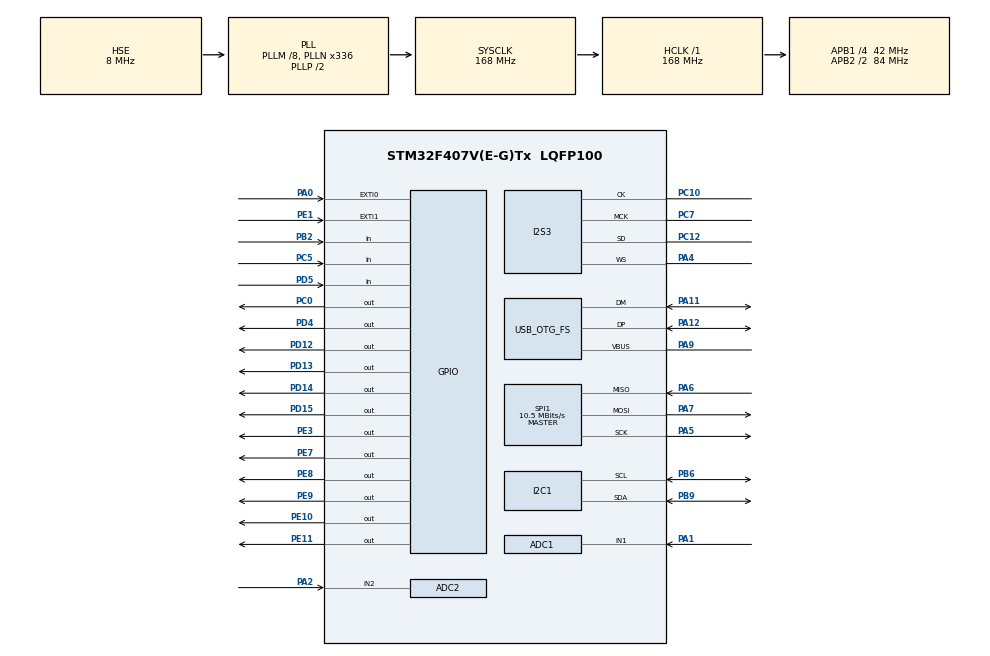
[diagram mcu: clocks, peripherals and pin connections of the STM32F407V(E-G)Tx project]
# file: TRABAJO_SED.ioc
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ADC1.Channel-0\#ChannelRegularConversion=ADC_CHANNEL_1
ADC1.ContinuousConvMode=ENABLE
ADC1.DMAContinuousRequests=DISABLE
ADC1.EOCSelection=ADC_EOC_SINGLE_CONV
ADC1.NbrOfConversion=1
ADC1.NbrOfConversionFlag=1
ADC1.Resolution=ADC_RESOLUTION_8B
ADC1.SamplingTime-0\#ChannelRegularConversion=ADC_SAMPLETIME_480CYCLES
ADC1.ScanConvMode=DISABLE
ADC1.master=1
ADC2.Channel-0\#ChannelRegularConversion=ADC_CHANNEL_2
ADC2.ContinuousConvMode=ENABLE
ADC2.NbrOfConversionFlag=1
ADC2.Rank-0\#ChannelRegularConversion=1
ADC2.Resolution=ADC_RESOLUTION_8B
ADC2.SamplingTime-0\#ChannelRegularConversion=ADC_SAMPLETIME_480CYCLES
ADC2.ScanConvMode=DISABLE
I2S3.AudioFreq-Half_Duplex_Master=I2S_AUDIOFREQ_96K
I2S3.ErrorAudioFreq=-2.34 %
I2S3.ErrorAudioFreq-Half_Duplex_Master=0.8 %
I2S3.FullDuplexMode=I2S_FULLDUPLEXMODE_DISABLE
I2S3.Instance=SPI$Index
I2S3.RealAudioFreq=93.75 KHz
I2S3.RealAudioFreq-Half_Duplex_Master=96.774 KHz
I2S3.VirtualMode=I2S_MODE_MASTER
Mcu.Family=STM32F4
Mcu.Name=STM32F407V(E-G)Tx
Mcu.Package=LQFP100
NVIC.ADC_IRQn=true\:0\:0\:false\:false\:true\:true\:true
NVIC.EXTI0_IRQn=true\:0\:0\:false\:false\:true\:true\:true
NVIC.OTG_FS_IRQn=true\:0\:0\:false\:false\:true\:true\:true
NVIC.PriorityGroup=NVIC_PRIORITYGROUP_0
NVIC.TIM4_IRQn=true\:0\:0\:false\:false\:true\:true\:true
PA0-WKUP.GPIO_ModeDefaultEXTI=GPIO_MODE_IT_RISING
PA0-WKUP.GPIO_PuPd=GPIO_NOPULL
PA0-WKUP.Signal=GPXTI0
PA1.Signal=ADCx_IN1
PA10.GPIO_Mode=GPIO_MODE_AF_PP
PA10.GPIO_PuPd=GPIO_NOPULL
PA10.GPIO_Speed=GPIO_SPEED_FREQ_VERY_HIGH
PA10.Signal=USB_OTG_FS_ID
PA11.GPIO_Mode=GPIO_MODE_AF_PP
PA11.GPIO_PuPd=GPIO_NOPULL
PA11.GPIO_Speed=GPIO_SPEED_FREQ_VERY_HIGH
PA11.Mode=Host_Only
PA11.Signal=USB_OTG_FS_DM
PA12.GPIO_Mode=GPIO_MODE_AF_PP
PA12.GPIO_PuPd=GPIO_NOPULL
PA12.GPIO_Speed=GPIO_SPEED_FREQ_VERY_HIGH
PA12.Mode=Host_Only
PA12.Signal=USB_OTG_FS_DP
PA13.Mode=Serial_Wire
PA13.Signal=SYS_JTMS-SWDIO
PA14.Mode=Serial_Wire
PA14.Signal=SYS_JTCK-SWCLK
PA2.Signal=ADCx_IN2
PA4.GPIO_Mode=GPIO_MODE_AF_PP
PA4.GPIO_PuPd=GPIO_NOPULL
PA4.GPIO_Speed=GPIO_SPEED_FREQ_LOW
PA4.Mode=Half_Duplex_Master
PA4.Signal=I2S3_WS
PA5.GPIO_Mode=GPIO_MODE_AF_PP
PA5.GPIO_PuPd=GPIO_NOPULL
PA5.GPIO_Speed=GPIO_SPEED_FREQ_VERY_HIGH
PA5.Mode=Full_Duplex_Master
PA5.Signal=SPI1_SCK
PA6.GPIO_Mode=GPIO_MODE_AF_PP
PA6.GPIO_PuPd=GPIO_NOPULL
PA6.GPIO_Speed=GPIO_SPEED_FREQ_VERY_HIGH
PA6.Mode=Full_Duplex_Master
PA6.Signal=SPI1_MISO
PA7.GPIO_Mode=GPIO_MODE_AF_PP
PA7.GPIO_PuPd=GPIO_NOPULL
PA7.GPIO_Speed=GPIO_SPEED_FREQ_VERY_HIGH
PA7.Mode=Full_Duplex_Master
PA7.Signal=SPI1_MOSI
PA9.GPIO_Mode=GPIO_MODE_INPUT
PA9.GPIO_PuPd=GPIO_NOPULL
PA9.Mode=Activate_VBUS
PA9.Signal=USB_OTG_FS_VBUS
PB10.GPIO_Mode=GPIO_MODE_AF_PP
PB10.GPIO_PuPd=GPIO_NOPULL
PB10.GPIO_Speed=GPIO_SPEED_FREQ_LOW
PB10.Signal=I2S2_CK
PB2.GPIO_Mode=GPIO_MODE_INPUT
PB2.GPIO_PuPd=GPIO_NOPULL
PB2.Signal=GPIO_Input
PB3.Signal=SYS_JTDO-SWO
PB6.GPIO_Mode=GPIO_MODE_AF_OD
PB6.GPIO_PuPd=GPIO_NOPULL
PB6.GPIO_PuPdOD=GPIO_PULLUP
PB6.GPIO_Speed=GPIO_SPEED_FREQ_VERY_HIGH
PB6.Mode=I2C
PB6.Signal=I2C1_SCL
PB9.GPIO_Mode=GPIO_MODE_AF_OD
PB9.GPIO_PuPd=GPIO_NOPULL
PB9.GPIO_PuPdOD=GPIO_PULLUP
PB9.GPIO_Speed=GPIO_SPEED_FREQ_VERY_HIGH
PB9.Mode=I2C
PB9.Signal=I2C1_SDA
PC0.GPIO_ModeDefaultOutputPP=GPIO_MODE_OUTPUT_PP
PC0.GPIO_PuPd=GPIO_NOPULL
PC0.GPIO_Speed=GPIO_SPEED_FREQ_LOW
PC0.PinState=GPIO_PIN_RESET
PC0.Signal=GPIO_Output
PC10.GPIO_Mode=GPIO_MODE_AF_PP
PC10.GPIO_PuPd=GPIO_NOPULL
PC10.GPIO_Speed=GPIO_SPEED_FREQ_LOW
PC10.Mode=Half_Duplex_Master
PC10.Signal=I2S3_CK
PC12.GPIO_Mode=GPIO_MODE_AF_PP
PC12.GPIO_PuPd=GPIO_NOPULL
PC12.GPIO_Speed=GPIO_SPEED_FREQ_LOW
PC12.Mode=Half_Duplex_Master
PC12.Signal=I2S3_SD
PC14-OSC32_IN.Mode=LSE-External-Oscillator
PC14-OSC32_IN.Signal=RCC_OSC32_IN
PC15-OSC32_OUT.Mode=LSE-External-Oscillator
PC15-OSC32_OUT.Signal=RCC_OSC32_OUT
PC3.GPIO_Mode=GPIO_MODE_AF_PP
PC3.GPIO_PuPd=GPIO_NOPULL
PC3.GPIO_Speed=GPIO_SPEED_FREQ_LOW
PC3.Signal=I2S2_SD
PC5.Signal=GPIO_Input
PC7.GPIO_Mode=GPIO_MODE_AF_PP
PC7.GPIO_PuPd=GPIO_NOPULL
PC7.GPIO_Speed=GPIO_SPEED_FREQ_LOW
PC7.Mode=Master_Clock_Activated
PC7.Signal=I2S3_MCK
PD12.GPIO_ModeDefaultOutputPP=GPIO_MODE_OUTPUT_PP
PD12.GPIO_PuPd=GPIO_NOPULL
PD12.GPIO_Speed=GPIO_SPEED_FREQ_LOW
PD12.PinState=GPIO_PIN_RESET
PD12.Signal=GPIO_Output
PD13.GPIO_ModeDefaultOutputPP=GPIO_MODE_OUTPUT_PP
PD13.GPIO_PuPd=GPIO_NOPULL
PD13.GPIO_Speed=GPIO_SPEED_FREQ_LOW
PD13.PinState=GPIO_PIN_RESET
PD13.Signal=GPIO_Output
PD14.GPIO_ModeDefaultOutputPP=GPIO_MODE_OUTPUT_PP
PD14.GPIO_PuPd=GPIO_NOPULL
PD14.GPIO_Speed=GPIO_SPEED_FREQ_LOW
PD14.PinState=GPIO_PIN_RESET
PD14.Signal=GPIO_Output
PD15.GPIO_ModeDefaultOutputPP=GPIO_MODE_OUTPUT_PP
PD15.GPIO_PuPd=GPIO_NOPULL
PD15.GPIO_Speed=GPIO_SPEED_FREQ_LOW
PD15.PinState=GPIO_PIN_RESET
PD15.Signal=GPIO_Output
PD4.GPIO_ModeDefaultOutputPP=GPIO_MODE_OUTPUT_PP
PD4.GPIO_PuPd=GPIO_NOPULL
PD4.GPIO_Speed=GPIO_SPEED_FREQ_LOW
PD4.PinState=GPIO_PIN_RESET
PD4.Signal=GPIO_Output
PD5.GPIO_Mode=GPIO_MODE_INPUT
PD5.GPIO_PuPd=GPIO_NOPULL
PD5.Signal=GPIO_Input
PE1.GPIO_ModeDefaultEXTI=GPIO_MODE_IT_RISING
PE1.GPIO_PuPd=GPIO_NOPULL
PE1.Signal=GPXTI1
PE10.GPIO_ModeDefaultOutputPP=GPIO_MODE_OUTPUT_PP
PE10.GPIO_PuPd=GPIO_NOPULL
PE10.GPIO_Speed=GPIO_SPEED_FREQ_LOW
PE10.PinState=GPIO_PIN_RESET
PE10.Signal=GPIO_Output
PE11.GPIO_ModeDefaultOutputPP=GPIO_MODE_OUTPUT_PP
PE11.GPIO_PuPd=GPIO_NOPULL
PE11.GPIO_Speed=GPIO_SPEED_FREQ_LOW
PE11.PinState=GPIO_PIN_RESET
PE11.Signal=GPIO_Output
PE3.GPIO_ModeDefaultOutputPP=GPIO_MODE_OUTPUT_PP
PE3.GPIO_PuPd=GPIO_NOPULL
PE3.GPIO_Speed=GPIO_SPEED_FREQ_LOW
PE3.PinState=GPIO_PIN_RESET
PE3.Signal=GPIO_Output
PE7.GPIO_ModeDefaultOutputPP=GPIO_MODE_OUTPUT_PP
PE7.GPIO_PuPd=GPIO_NOPULL
PE7.GPIO_Speed=GPIO_SPEED_FREQ_LOW
PE7.PinState=GPIO_PIN_RESET
PE7.Signal=GPIO_Output
PE8.GPIO_ModeDefaultOutputPP=GPIO_MODE_OUTPUT_PP
PE8.GPIO_PuPd=GPIO_NOPULL
PE8.GPIO_Speed=GPIO_SPEED_FREQ_LOW
PE8.PinState=GPIO_PIN_RESET
PE8.Signal=GPIO_Output
PE9.GPIO_ModeDefaultOutputPP=GPIO_MODE_OUTPUT_PP
PE9.GPIO_PuPd=GPIO_NOPULL
PE9.GPIO_Speed=GPIO_SPEED_FREQ_LOW
PE9.PinState=GPIO_PIN_RESET
PE9.Signal=GPIO_Output
PH0-OSC_IN.Mode=HSE-External-Oscillator
PH0-OSC_IN.Signal=RCC_OSC_IN
PH1-OSC_OUT.Mode=HSE-External-Oscillator
PH1-OSC_OUT.Signal=RCC_OSC_OUT
ProjectManager.HeapSize=0x200
ProjectManager.StackSize=0x400
ProjectManager.TargetToolchain=MDK-ARM V5.27
RCC.48MHZClocksFreq_Value=48000000
RCC.AHBFreq_Value=168000000
RCC.APB1CLKDivider=RCC_HCLK_DIV4
RCC.APB1Freq_Value=42000000
RCC.APB1TimFreq_Value=84000000
RCC.APB2CLKDivider=RCC_HCLK_DIV2
RCC.APB2Freq_Value=84000000
RCC.APB2TimFreq_Value=168000000
RCC.CortexFreq_Value=168000000
RCC.HCLKFreq_Value=168000000
RCC.HSE_VALUE=8000000
RCC.HSI_VALUE=16000000
RCC.PLLM=8
RCC.PLLN=336
RCC.PLLQ=7
RCC.SYSCLKFreq_VALUE=168000000
RCC.SYSCLKSource=RCC_SYSCLKSOURCE_PLLCLK
RCC.VCOOutputFreq_Value=336000000
SH.ADCx_IN1.0=ADC1_IN1,IN1
SH.ADCx_IN2.0=ADC2_IN2,IN2
SPI1.BaudRatePrescaler=SPI_BAUDRATEPRESCALER_8
SPI1.BaudRatePrescaler-Full_Duplex_Master=SPI_BAUDRATEPRESCALER_2
SPI1.CalculateBaudRate=10.5 MBits/s
SPI1.CalculateBaudRate-Full_Duplex_Master=42.0 MBits/s
SPI1.DataSize=SPI_DATASIZE_8BIT
SPI1.Direction=SPI_DIRECTION_2LINES
SPI1.Mode=SPI_MODE_MASTER
SPI1.Mode-Full_Duplex_Master=SPI_MODE_MASTER
SPI1.VirtualType=VM_MASTER
TIM4.Period=1000
TIM4.Prescaler=16000
USB_HOST.BSP.number=1
USB_HOST.USBH_HandleTypeDef-CDC_FS=hUsbHostFS
USB_HOST.VirtualModeFS=Cdc
USB_HOST0.BSP.STBoard=false
USB_HOST0.BSP.api=Unknown
USB_HOST0.BSP.i2caddr=0
USB_HOST0.BSP.i2creg=0
USB_HOST0.BSP.instance=PC0
USB_HOST0.BSP.ip=GPIO
USB_HOST0.BSP.mode=Output
USB_HOST0.BSP.name=Drive_VBUS_FS
USB_HOST0.BSP.solution=PC0
USB_OTG_FS.VirtualMode=Host_Only
USB_OTG_FS.phy_itface=HCD_PHY_EMBEDDED
VP_TIM4_VS_ClockSourceINT.Mode=Internal
VP_USB_HOST_VS_USB_HOST_CDC_FS.Mode=CDC_FS
board=STM32F407G-DISC1

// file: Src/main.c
/* USER CODE BEGIN Header */
/**
  ******************************************************************************
  * @file           : main.c
  * @brief          : Main program body
  ******************************************************************************
  * @attention
  *
  * <h2><center>&copy; Copyright (c) 2019 STMicroelectronics.
  * All rights reserved.</center></h2>
  *
  * This software component is licensed by ST under Ultimate Liberty license
  * SLA0044, the "License"; You may not use this file except in compliance with
  * the License. You may obtain a copy of the License at:
  *                             www.st.com/SLA0044
  *
  ******************************************************************************
  */
/* USER CODE END Header */

#include "main.h"
#include "usb_host.h"
//lol
/* USER CODE BEGIN Includes */
#include "nokia5110_LCD.h"
#include <stdio.h>
#include <stdlib.h>
/* USER CODE END Includes */

/* USER CODE BEGIN PTD */
//Estados de la máquina de Moore
	 typedef enum{inicio, pausa, juego, muerto} Game;

//Estructura de las diferentes posiciones en el tablero
	 typedef struct{
	   uint8_t fila;
		 uint8_t columna;
	 }Posicion;

//Estructura de la serpiente incluyendo, el tamaño, la dirección de la serpiente y el vector de posiciones
	 typedef struct {
	  uint8_t size;
	  uint8_t dir; //0 arriba, 1 derecha, 2 abajo, 3 izquierda
	  Posicion Pos[150]; //No se puede poner más
	 }Snake;

/* USER CODE END PTD */

/* USER CODE BEGIN PD */
#define MAX_X 81  //quitando el marco del juego
#define MAX_Y 45 //quitando el score
#define MIN_X 2
#define MIN_Y 10
#define MAX_COLUMNA 40 //Columnas de la matriz de tablero
#define MAX_FILA 18  //Filas de la matriz de tablero
#define MAX_SNAKE 150 //Longitud máxima de la serpiente (ocupando todo el tablero)
/* USER CODE END PD */

ADC_HandleTypeDef hadc1;
ADC_HandleTypeDef hadc2;

I2C_HandleTypeDef hi2c1;

I2S_HandleTypeDef hi2s3;

SPI_HandleTypeDef hspi1;

TIM_HandleTypeDef htim4;

/* USER CODE BEGIN PV */

	bool ISR = false; //Inicialización de la interrupción del botón
  bool ISADC = false;   //Inicialización de la interrupción de los ADC
	bool ISTIMER = false;  //Inicialización de la interrupción del timer
  uint8_t ADC_X = 0;  //Inicialización de variable del eje x del joystick
  uint8_t ADC_Y = 0;  //Inicialización de la variable del eje y del joystick

/* USER CODE END PV */

void SystemClock_Config(void);
static void MX_GPIO_Init(void);
static void MX_I2C1_Init(void);
static void MX_I2S3_Init(void);
static void MX_SPI1_Init(void);
static void MX_ADC1_Init(void);
static void MX_ADC2_Init(void);
static void MX_TIM4_Init(void);
void MX_USB_HOST_Process(void);

/* USER CODE BEGIN PFP */
void drawFood(uint8_t pixelX, uint8_t pixelY); //Dibujo de la comida
void drawTablero(uint8_t Tab[MAX_FILA][MAX_COLUMNA], uint8_t score); //Dibujo del tablero
void SnakePos(uint8_t Tab[MAX_FILA][MAX_COLUMNA], Snake* snake, Game *estado); //Cálculo de la posición de la serpiente
void Dibujo(Game *estado, uint8_t Tab[MAX_FILA][MAX_COLUMNA], Snake* snake); //Dibujo de la pantalla
void JuegoInit(Snake *Serpiente, uint8_t Tab[MAX_FILA][MAX_COLUMNA]);  //Inicialización del tablero con valores predeterminados
void Estado(Game *estado, Snake *Serpiente, uint8_t Tab[MAX_FILA][MAX_COLUMNA]);  //Transición de estados
uint8_t cambioDir(uint8_t direccion);  //Cálculo del cambio de dirección de la serpiente según el joystick
void ajustePos(uint8_t Tab[MAX_FILA][MAX_COLUMNA], Snake* snake, Game *estado);  //Comprobación del estado siguiente de la serpiente
/* USER CODE END PFP */

int main(void)
{
  /* USER CODE BEGIN 1 */
  Snake Serpiente; //Inicialización de la serpiente
	uint8_t Tablero[MAX_FILA][MAX_COLUMNA]; //0 si vacio, 1 si serpiente, 2 si comida

  /* USER CODE END 1 */

  /* MCU Configuration--------------------------------------------------------*/

  /* Reset of all peripherals, Initializes the Flash interface and the Systick. */
  HAL_Init();

  /* USER CODE BEGIN Init */
   Game estado = inicio;

  /* USER CODE END Init */

  /* Configure the system clock */
  SystemClock_Config();

  /* USER CODE BEGIN SysInit */
  LCD_setRST(GPIOE, GPIO_PIN_7);
  LCD_setCE(GPIOE, GPIO_PIN_8);
  LCD_setDC(GPIOE, GPIO_PIN_9);
  LCD_setDIN(GPIOE, GPIO_PIN_10);
  LCD_setCLK(GPIOE, GPIO_PIN_11);
  /* USER CODE END SysInit */

  /* Initialize all configured peripherals */
  MX_GPIO_Init();
  MX_I2C1_Init();
  MX_I2S3_Init();
  MX_SPI1_Init();
  MX_USB_HOST_Init();
  MX_ADC1_Init();
  MX_ADC2_Init();
  MX_TIM4_Init();
  /* USER CODE BEGIN 2 */
  LCD_init();
	HAL_ADC_Start_IT(&hadc1);
	HAL_ADC_Start_IT(&hadc2);
  HAL_TIM_Base_Start_IT(&htim4);

	 //inicialización del vector de posiciones
	 JuegoInit(&Serpiente, Tablero);

  /* USER CODE END 2 */

  /* Infinite loop */
  /* USER CODE BEGIN WHILE */
  while (1)
  {
		//Pantalla 84*48 pixeles
		//Cabeza 4 pixeles, cada fruta aumenta en dos el tamaño de la serpiente (4 pixeles +)

    /* USER CODE END WHILE */
    MX_USB_HOST_Process();

    /* USER CODE BEGIN 3 */
		//LLamada a Dibujo(Para enviar a la pantalla los datos ) cuando se activa la interrupción del contador
		if (ISTIMER){

	  Dibujo(&estado, Tablero, &Serpiente);	 Dibujo(&estado, Tablero, &Serpiente);	//Llamada a la función de dibujo
	  ISTIMER = false;  //Reset de la variable de interrupción
 }
		//Llamada a funciones Estado (para gestión del estado)
    Estado(&estado, &Serpiente, Tablero);
  }
  /* USER CODE END 3 */
}

void SystemClock_Config(void)
{
  RCC_OscInitTypeDef RCC_OscInitStruct = {0};
  RCC_ClkInitTypeDef RCC_ClkInitStruct = {0};
  RCC_PeriphCLKInitTypeDef PeriphClkInitStruct = {0};

  /** Configure the main internal regulator output voltage
  */
  __HAL_RCC_PWR_CLK_ENABLE();
  __HAL_PWR_VOLTAGESCALING_CONFIG(PWR_REGULATOR_VOLTAGE_SCALE1);
  /** Initializes the CPU, AHB and APB busses clocks
  */
  RCC_OscInitStruct.OscillatorType = RCC_OSCILLATORTYPE_HSE;
  RCC_OscInitStruct.HSEState = RCC_HSE_ON;
  RCC_OscInitStruct.PLL.PLLState = RCC_PLL_ON;
  RCC_OscInitStruct.PLL.PLLSource = RCC_PLLSOURCE_HSE;
  RCC_OscInitStruct.PLL.PLLM = 8;
  RCC_OscInitStruct.PLL.PLLN = 336;
  RCC_OscInitStruct.PLL.PLLP = RCC_PLLP_DIV2;
  RCC_OscInitStruct.PLL.PLLQ = 7;
  if (HAL_RCC_OscConfig(&RCC_OscInitStruct) != HAL_OK)
  {
    Error_Handler();
  }
  /** Initializes the CPU, AHB and APB busses clocks
  */
  RCC_ClkInitStruct.ClockType = RCC_CLOCKTYPE_HCLK|RCC_CLOCKTYPE_SYSCLK
                              |RCC_CLOCKTYPE_PCLK1|RCC_CLOCKTYPE_PCLK2;
  RCC_ClkInitStruct.SYSCLKSource = RCC_SYSCLKSOURCE_PLLCLK;
  RCC_ClkInitStruct.AHBCLKDivider = RCC_SYSCLK_DIV1;
  RCC_ClkInitStruct.APB1CLKDivider = RCC_HCLK_DIV4;
  RCC_ClkInitStruct.APB2CLKDivider = RCC_HCLK_DIV2;

  if (HAL_RCC_ClockConfig(&RCC_ClkInitStruct, FLASH_LATENCY_5) != HAL_OK)
  {
    Error_Handler();
  }
  PeriphClkInitStruct.PeriphClockSelection = RCC_PERIPHCLK_I2S;
  PeriphClkInitStruct.PLLI2S.PLLI2SN = 192;
  PeriphClkInitStruct.PLLI2S.PLLI2SR = 2;
  if (HAL_RCCEx_PeriphCLKConfig(&PeriphClkInitStruct) != HAL_OK)
  {
    Error_Handler();
  }
}

static void MX_ADC1_Init(void)
{

  ADC_ChannelConfTypeDef sConfig = {0};

  /** Configure the global features of the ADC (Clock, Resolution, Data Alignment and number of conversion)
  */
  hadc1.Instance = ADC1;
  hadc1.Init.ClockPrescaler = ADC_CLOCK_SYNC_PCLK_DIV4;
  hadc1.Init.Resolution = ADC_RESOLUTION_8B;
  hadc1.Init.ScanConvMode = DISABLE;
  hadc1.Init.ContinuousConvMode = ENABLE;
  hadc1.Init.DiscontinuousConvMode = DISABLE;
  hadc1.Init.ExternalTrigConvEdge = ADC_EXTERNALTRIGCONVEDGE_NONE;
  hadc1.Init.ExternalTrigConv = ADC_SOFTWARE_START;
  hadc1.Init.DataAlign = ADC_DATAALIGN_RIGHT;
  hadc1.Init.NbrOfConversion = 1;
  hadc1.Init.DMAContinuousRequests = DISABLE;
  hadc1.Init.EOCSelection = ADC_EOC_SINGLE_CONV;
  if (HAL_ADC_Init(&hadc1) != HAL_OK)
  {
    Error_Handler();
  }
  /** Configure for the selected ADC regular channel its corresponding rank in the sequencer and its sample time.
  */
  sConfig.Channel = ADC_CHANNEL_1;
  sConfig.Rank = 1;
  sConfig.SamplingTime = ADC_SAMPLETIME_480CYCLES;
  if (HAL_ADC_ConfigChannel(&hadc1, &sConfig) != HAL_OK)
  {
    Error_Handler();
  }

}

static void MX_ADC2_Init(void)
{

  ADC_ChannelConfTypeDef sConfig = {0};

  /** Configure the global features of the ADC (Clock, Resolution, Data Alignment and number of conversion)
  */
  hadc2.Instance = ADC2;
  hadc2.Init.ClockPrescaler = ADC_CLOCK_SYNC_PCLK_DIV4;
  hadc2.Init.Resolution = ADC_RESOLUTION_8B;
  hadc2.Init.ScanConvMode = DISABLE;
  hadc2.Init.ContinuousConvMode = ENABLE;
  hadc2.Init.DiscontinuousConvMode = DISABLE;
  hadc2.Init.ExternalTrigConvEdge = ADC_EXTERNALTRIGCONVEDGE_NONE;
  hadc2.Init.ExternalTrigConv = ADC_SOFTWARE_START;
  hadc2.Init.DataAlign = ADC_DATAALIGN_RIGHT;
  hadc2.Init.NbrOfConversion = 1;
  hadc2.Init.DMAContinuousRequests = DISABLE;
  hadc2.Init.EOCSelection = ADC_EOC_SINGLE_CONV;
  if (HAL_ADC_Init(&hadc2) != HAL_OK)
  {
    Error_Handler();
  }
  /** Configure for the selected ADC regular channel its corresponding rank in the sequencer and its sample time.
  */
  sConfig.Channel = ADC_CHANNEL_2;
  sConfig.Rank = 1;
  sConfig.SamplingTime = ADC_SAMPLETIME_480CYCLES;
  if (HAL_ADC_ConfigChannel(&hadc2, &sConfig) != HAL_OK)
  {
    Error_Handler();
  }

}

static void MX_I2C1_Init(void)
{

  hi2c1.Instance = I2C1;
  hi2c1.Init.ClockSpeed = 100000;
  hi2c1.Init.DutyCycle = I2C_DUTYCYCLE_2;
  hi2c1.Init.OwnAddress1 = 0;
  hi2c1.Init.AddressingMode = I2C_ADDRESSINGMODE_7BIT;
  hi2c1.Init.DualAddressMode = I2C_DUALADDRESS_DISABLE;
  hi2c1.Init.OwnAddress2 = 0;
  hi2c1.Init.GeneralCallMode = I2C_GENERALCALL_DISABLE;
  hi2c1.Init.NoStretchMode = I2C_NOSTRETCH_DISABLE;
  if (HAL_I2C_Init(&hi2c1) != HAL_OK)
  {
    Error_Handler();
  }

}

static void MX_I2S3_Init(void)
{

  hi2s3.Instance = SPI3;
  hi2s3.Init.Mode = I2S_MODE_MASTER_TX;
  hi2s3.Init.Standard = I2S_STANDARD_PHILIPS;
  hi2s3.Init.DataFormat = I2S_DATAFORMAT_16B;
  hi2s3.Init.MCLKOutput = I2S_MCLKOUTPUT_ENABLE;
  hi2s3.Init.AudioFreq = I2S_AUDIOFREQ_96K;
  hi2s3.Init.CPOL = I2S_CPOL_LOW;
  hi2s3.Init.ClockSource = I2S_CLOCK_PLL;
  hi2s3.Init.FullDuplexMode = I2S_FULLDUPLEXMODE_DISABLE;
  if (HAL_I2S_Init(&hi2s3) != HAL_OK)
  {
    Error_Handler();
  }

}

static void MX_SPI1_Init(void)
{

  /* SPI1 parameter configuration*/
  hspi1.Instance = SPI1;
  hspi1.Init.Mode = SPI_MODE_MASTER;
  hspi1.Init.Direction = SPI_DIRECTION_2LINES;
  hspi1.Init.DataSize = SPI_DATASIZE_8BIT;
  hspi1.Init.CLKPolarity = SPI_POLARITY_LOW;
  hspi1.Init.CLKPhase = SPI_PHASE_1EDGE;
  hspi1.Init.NSS = SPI_NSS_SOFT;
  hspi1.Init.BaudRatePrescaler = SPI_BAUDRATEPRESCALER_8;
  hspi1.Init.FirstBit = SPI_FIRSTBIT_MSB;
  hspi1.Init.TIMode = SPI_TIMODE_DISABLE;
  hspi1.Init.CRCCalculation = SPI_CRCCALCULATION_DISABLE;
  hspi1.Init.CRCPolynomial = 10;
  if (HAL_SPI_Init(&hspi1) != HAL_OK)
  {
    Error_Handler();
  }

}

static void MX_TIM4_Init(void)
{

  TIM_ClockConfigTypeDef sClockSourceConfig = {0};
  TIM_MasterConfigTypeDef sMasterConfig = {0};

  htim4.Instance = TIM4;
  htim4.Init.Prescaler = 160000;
  htim4.Init.CounterMode = TIM_COUNTERMODE_UP;
  htim4.Init.Period = 200;
  htim4.Init.ClockDivision = TIM_CLOCKDIVISION_DIV1;
  htim4.Init.AutoReloadPreload = TIM_AUTORELOAD_PRELOAD_DISABLE;
  if (HAL_TIM_Base_Init(&htim4) != HAL_OK)
  {
    Error_Handler();
  }
  sClockSourceConfig.ClockSource = TIM_CLOCKSOURCE_INTERNAL;
  if (HAL_TIM_ConfigClockSource(&htim4, &sClockSourceConfig) != HAL_OK)
  {
    Error_Handler();
  }
  sMasterConfig.MasterOutputTrigger = TIM_TRGO_RESET;
  sMasterConfig.MasterSlaveMode = TIM_MASTERSLAVEMODE_DISABLE;
  if (HAL_TIMEx_MasterConfigSynchronization(&htim4, &sMasterConfig) != HAL_OK)
  {
    Error_Handler();
  }

}

static void MX_GPIO_Init(void)
{
  GPIO_InitTypeDef GPIO_InitStruct = {0};

  /* GPIO Ports Clock Enable */
  __HAL_RCC_GPIOE_CLK_ENABLE();
  __HAL_RCC_GPIOC_CLK_ENABLE();
  __HAL_RCC_GPIOH_CLK_ENABLE();
  __HAL_RCC_GPIOA_CLK_ENABLE();
  __HAL_RCC_GPIOB_CLK_ENABLE();
  __HAL_RCC_GPIOD_CLK_ENABLE();

  /*Configure GPIO pin Output Level */
  HAL_GPIO_WritePin(GPIOE, GPIO_PIN_3|GPIO_PIN_7|GPIO_PIN_8|GPIO_PIN_9
                          |GPIO_PIN_10|GPIO_PIN_11, GPIO_PIN_RESET);

  /*Configure GPIO pin Output Level */
  HAL_GPIO_WritePin(GPIOC, GPIO_PIN_0, GPIO_PIN_RESET);

  /*Configure GPIO pin Output Level */
  HAL_GPIO_WritePin(GPIOD, GPIO_PIN_12|GPIO_PIN_13|GPIO_PIN_14|GPIO_PIN_15
                          |GPIO_PIN_4, GPIO_PIN_RESET);

  /*Configure GPIO pins : PE3 PE7 PE8 PE9
                           PE10 PE11 */
  GPIO_InitStruct.Pin = GPIO_PIN_3|GPIO_PIN_7|GPIO_PIN_8|GPIO_PIN_9
                          |GPIO_PIN_10|GPIO_PIN_11;
  GPIO_InitStruct.Mode = GPIO_MODE_OUTPUT_PP;
  GPIO_InitStruct.Pull = GPIO_NOPULL;
  GPIO_InitStruct.Speed = GPIO_SPEED_FREQ_LOW;
  HAL_GPIO_Init(GPIOE, &GPIO_InitStruct);

  /*Configure GPIO pin : PC0 */
  GPIO_InitStruct.Pin = GPIO_PIN_0;
  GPIO_InitStruct.Mode = GPIO_MODE_OUTPUT_PP;
  GPIO_InitStruct.Pull = GPIO_NOPULL;
  GPIO_InitStruct.Speed = GPIO_SPEED_FREQ_LOW;
  HAL_GPIO_Init(GPIOC, &GPIO_InitStruct);

  /*Configure GPIO pin : PC3 */
  GPIO_InitStruct.Pin = GPIO_PIN_3;
  GPIO_InitStruct.Mode = GPIO_MODE_AF_PP;
  GPIO_InitStruct.Pull = GPIO_NOPULL;
  GPIO_InitStruct.Speed = GPIO_SPEED_FREQ_LOW;
  GPIO_InitStruct.Alternate = GPIO_AF5_SPI2;
  HAL_GPIO_Init(GPIOC, &GPIO_InitStruct);

  /*Configure GPIO pin : PA0 */
  GPIO_InitStruct.Pin = GPIO_PIN_0;
  GPIO_InitStruct.Mode = GPIO_MODE_IT_RISING;
  GPIO_InitStruct.Pull = GPIO_NOPULL;
  HAL_GPIO_Init(GPIOA, &GPIO_InitStruct);

  /*Configure GPIO pin : PC5 */
  GPIO_InitStruct.Pin = GPIO_PIN_5;
  GPIO_InitStruct.Mode = GPIO_MODE_INPUT;
  GPIO_InitStruct.Pull = GPIO_NOPULL;
  HAL_GPIO_Init(GPIOC, &GPIO_InitStruct);

  /*Configure GPIO pin : PB2 */
  GPIO_InitStruct.Pin = GPIO_PIN_2;
  GPIO_InitStruct.Mode = GPIO_MODE_INPUT;
  GPIO_InitStruct.Pull = GPIO_NOPULL;
  HAL_GPIO_Init(GPIOB, &GPIO_InitStruct);

  /*Configure GPIO pin : PB10 */
  GPIO_InitStruct.Pin = GPIO_PIN_10;
  GPIO_InitStruct.Mode = GPIO_MODE_AF_PP;
  GPIO_InitStruct.Pull = GPIO_NOPULL;
  GPIO_InitStruct.Speed = GPIO_SPEED_FREQ_LOW;
  GPIO_InitStruct.Alternate = GPIO_AF5_SPI2;
  HAL_GPIO_Init(GPIOB, &GPIO_InitStruct);

  /*Configure GPIO pins : PD12 PD13 PD14 PD15
                           PD4 */
  GPIO_InitStruct.Pin = GPIO_PIN_12|GPIO_PIN_13|GPIO_PIN_14|GPIO_PIN_15
                          |GPIO_PIN_4;
  GPIO_InitStruct.Mode = GPIO_MODE_OUTPUT_PP;
  GPIO_InitStruct.Pull = GPIO_NOPULL;
  GPIO_InitStruct.Speed = GPIO_SPEED_FREQ_LOW;
  HAL_GPIO_Init(GPIOD, &GPIO_InitStruct);

  /*Configure GPIO pin : PD5 */
  GPIO_InitStruct.Pin = GPIO_PIN_5;
  GPIO_InitStruct.Mode = GPIO_MODE_INPUT;
  GPIO_InitStruct.Pull = GPIO_NOPULL;
  HAL_GPIO_Init(GPIOD, &GPIO_InitStruct);

  /*Configure GPIO pin : PE1 */
  GPIO_InitStruct.Pin = GPIO_PIN_1;
  GPIO_InitStruct.Mode = GPIO_MODE_IT_RISING;
  GPIO_InitStruct.Pull = GPIO_NOPULL;
  HAL_GPIO_Init(GPIOE, &GPIO_InitStruct);

  /* EXTI interrupt init*/
  HAL_NVIC_SetPriority(EXTI0_IRQn, 0, 0);
  HAL_NVIC_EnableIRQ(EXTI0_IRQn);

}

/* USER CODE BEGIN 4 */
//Dibuja en la pantalla según el estado del snake
void Dibujo(Game *estado, uint8_t Tab[MAX_FILA][MAX_COLUMNA], Snake* snake){

	  char  num[3];
	//Elección de lo que hay que dibujar según el estado en el que nos encontramos
	switch (*estado) {
		//Dibujo del juego
		case juego:
		SnakePos(Tab, snake, estado);
    drawTablero(Tab, snake->size - 1);
	 	HAL_Delay(60);  //Control de la dificultad
			break;

		//Dibujo del estado de pausa
		case pausa:
		LCD_print("PAUSA", 28, 3);
		   break;

		//Dibujo del estado de muerto
		case muerto:
			sprintf(num, "%d" ,snake->size - 1);
		if (!ISR){ //Comprobación si se ha pulsado el botón
   		LCD_clrScr(); //Limpieza de la pantalla
		  LCD_invert(true); //Inversión de la pantalla
	    LCD_print("GAME", 30, 2);
	    LCD_print("OVER", 30, 3);
			LCD_print("SCORE:", 20, 5);
	    LCD_print(num, 55, 5);
      HAL_Delay(750);
		}
		 if (!ISR){  //Comprobación si se ha pulsado el botón
		  LCD_clrScr();
		  LCD_print("JUEGAS", 25, 2);
	    LCD_print("OTRA?", 28, 3);
			LCD_print("SCORE:", 20, 5);
	    LCD_print(num, 55, 5);
	    HAL_Delay(750);
		 }
			break;
		case inicio:
			LCD_clrScr();
		  LCD_invert(true);
	    LCD_print("PULSA", 28, 2);
	    LCD_print("PARA", 30, 3);
		  LCD_print("INICIAR", 20, 4);
		  break;
		default: break;

	}

}
//Dibujo de la comida
void drawFood(uint8_t pixelX, uint8_t pixelY){
	uint8_t x1,x2,y1,y2, x, y;

	//Paso de posición de matriz a pixel
	x = 2*pixelY + 2;
	y = 2*pixelX + 10;

	//Pixeles que se van a dibujar
	x1 = x - 1;
	x2 = x + 1;
	y1 = y - 1;
	y2 = y + 1;

	//Comprobación que no se activa fuera de los límites
	if (x1 <= MAX_X)
		LCD_setPixel(x1, y, true);
	if (x2 <= MAX_X)
		LCD_setPixel(x2, y, true);
	if (y1 <= MAX_Y)
		LCD_setPixel(x, y1, true);
	if (y2 <= MAX_Y)
		LCD_setPixel(x, y2, true);
	LCD_refreshArea(x1, y1, x2, y2);
}

//Dibujo del tablero
void drawTablero(uint8_t Tab[MAX_FILA][MAX_COLUMNA], uint8_t score){
  char  num[3];

	//Paso de int a char* (impresión de la puntuación)
	sprintf(num, "%d" ,score);
	char* puntos = "SCORE: ";

 //Limpieza de la pantalla
	LCD_clrScr();

 //Dibujo del tablero
	LCD_drawHLine(0, 8, 84);
  LCD_drawHLine(0, 9, 84);
  LCD_drawHLine(0, 47, 84);
  LCD_drawHLine(0, 46, 84);
	LCD_drawVLine(0, 8, 37);
	LCD_drawVLine(1, 8, 37);
	LCD_drawVLine(82, 8, 37);
	LCD_drawVLine(83, 8, 37);

	//Dibujo del tablero
	for (int i = 0; i < MAX_COLUMNA; i++){
		for (int j = 0; j < MAX_FILA; j++){
			if (Tab[j][i] == 1 || Tab[j][i] == 3){
				LCD_drawHLine(2*i + 2, 2*j + 10, 2);
				LCD_drawHLine(2*i + 2, 2*j + 11, 2);
			}
			else if (Tab[j][i] == 2){
				drawFood(j, i);
			}
		}
	}
	LCD_refreshScr();

	//Dibujo de la puntuación
	LCD_print(puntos, 35,0);
	LCD_print(num, 70,0 );
}
//Movimiento de la serpiente, incluyendo comida y declaración de estado "muerto"
void SnakePos(uint8_t Tab[MAX_FILA][MAX_COLUMNA], Snake* snake, Game* estado) {
	int aux_fila[snake->size], aux_columna[snake->size];

	snake->dir = cambioDir(snake->dir);
	//Asignación de valores al vector auxiliar
	for (int i = 0; i < snake->size; i++){
		aux_fila[i] = snake->Pos[i].fila;
		aux_columna[i] = snake->Pos[i].columna;
	}

	//Desplazamiento del vector de posiciones
	 for (int i = 0; i < snake->size; i++){
		snake->Pos[i+1].fila = aux_fila[i];
		snake->Pos[i+1].columna = aux_columna[i];
	}
 ajustePos(Tab, snake, estado);
	//Comprobación si se come a si misma
	for(int i = 1; i < snake->size; i++)
		if(snake->Pos[0].fila == snake->Pos[i].fila && snake->Pos[0].columna == snake->Pos[i].columna)
			*estado = muerto;

	//Las posiciones que ocupan la serpiente se ponen a 1
	for (int i = 0; i < snake->size; i++){
		 Tab[snake->Pos[i].fila][snake->Pos[i].columna] = 1;
	}

	//La antigua posición de la cola se pone a 0 (la serpiente se ha movido)
	Tab[snake->Pos[snake->size].fila][snake->Pos[snake->size].columna] = 0;

	snake->Pos[snake->size].fila = 0;
	snake->Pos[snake->size].columna = 0;

}

 //Inicio del juego
 void JuegoInit(Snake *Serpiente, uint8_t Tab[MAX_FILA][MAX_COLUMNA]){
	   LCD_clrScr();
	   LCD_invert(false);
	   LCD_print("CARGANDO...", 10, 2);
	 	 for (int i = 0; i < MAX_COLUMNA; i++){
		 for (int j = 0; j < MAX_FILA; j++){
			 Tab[j][i] = 0;
		 }
	 }
		 //Posición inicial de la serpiente y de la comida;
	 Serpiente->Pos[0].fila = 10;
	 Serpiente->Pos[0].columna = 30;
	 Serpiente->dir = 3;
	 Serpiente->size = 1;
	 Tab[8][20] = 2;
	 HAL_Delay(100);
 }

 //Cambio de estado con ISR
 void Estado(Game *estado, Snake *Serpiente, uint8_t Tab[MAX_FILA][MAX_COLUMNA]){
	   if (*estado == juego && ISR == true){
		 *estado = pausa;
		 ISR = false;
	 }
   else if (*estado == pausa && ISR == true){
		 *estado = juego;
		 ISR = false;
	 }
    else if ((*estado == muerto || *estado == inicio) && ISR == true){
		 JuegoInit(Serpiente, Tab);
		 *estado = juego;
		 ISR = false;
	 }

 }

 uint8_t cambioDir(uint8_t direccion){

	 int dir;
	 	//Cambio de dirección de la serpiente según los valores del ADC
	if (ADC_X > 200 && direccion != 3) dir = 1;
	else if (ADC_X < 50 && direccion != 1) dir = 3;
	else if (ADC_Y > 200 && direccion != 2) dir = 0;
	else if (ADC_Y < 50 && direccion != 0) dir = 2;
	else dir = direccion;
	return dir;

 }
 void ajustePos(uint8_t Tab[MAX_FILA][MAX_COLUMNA], Snake* snake, Game *estado){
	 	 //Comprobación de limites y movimiento de la serpiente
	switch (snake->dir) {
		case 0:
			snake->Pos[0].fila = snake->Pos[0].fila + 1;
			if (snake->Pos[0].fila == MAX_FILA) *estado = muerto;
			break;

		case 1:
			snake->Pos[0].columna = snake->Pos[0].columna + 1;
			if (snake->Pos[0].columna == MAX_COLUMNA) *estado = muerto;
			break;

		case 2:
			snake->Pos[0].fila = snake->Pos[0].fila - 1;
			if (snake->Pos[0].fila == 255) *estado = muerto;
			break;

		case 3:
			snake->Pos[0].columna = snake->Pos[0].columna - 1;
			if (snake->Pos[0].columna == 255) *estado = muerto;
			break;

		default:
			break;
	}
	 //Comprobación de comida
	if(Tab[snake->Pos[0].fila][snake->Pos[0].columna] == 2) {
		uint8_t fila, columna;
		snake->size = snake->size++;

//Creación de comida de manera aleatoria
	  do {
		fila = rand() % MAX_FILA;
		columna = rand() % MAX_COLUMNA;
		}while(Tab[fila][columna] == 1);

		if (rand() % 50 < 5)
		Tab[fila][columna] = 3;

		else
			Tab[fila][columna] = 2;
	}
	else if(Tab[snake->Pos[0].fila][snake->Pos[0].columna] == 3) {
		uint8_t fila, columna;
		snake->size = snake->size + 2;
		do {
		fila = rand() % MAX_FILA;
		columna = rand() % MAX_COLUMNA;
		}while(Tab[fila][columna] == 1);

		 Tab[fila][columna] = 2;
	}
 }
 //Gestión del refresc de la pantalla
 void HAL_TIM_PeriodElapsedCallback(TIM_HandleTypeDef *htim)
{
  /* Prevent unused argument(s) compilation warning */
  UNUSED(htim);

  ISTIMER = true;
}

//Interrupciones del ADC
 void HAL_ADC_ConvCpltCallback(ADC_HandleTypeDef *hadc) {

     ADC_X = HAL_ADC_GetValue(&hadc1);
	   ADC_Y = HAL_ADC_GetValue(&hadc2);
 }

 //Interrupción del botón
 void HAL_GPIO_EXTI_Callback(uint16_t GPIO_Pin) {

	 ISR = true;
 }
/* USER CODE END 4 */

void Error_Handler(void)
{
}

/************************ (C) COPYRIGHT STMicroelectronics *****END OF FILE****/
